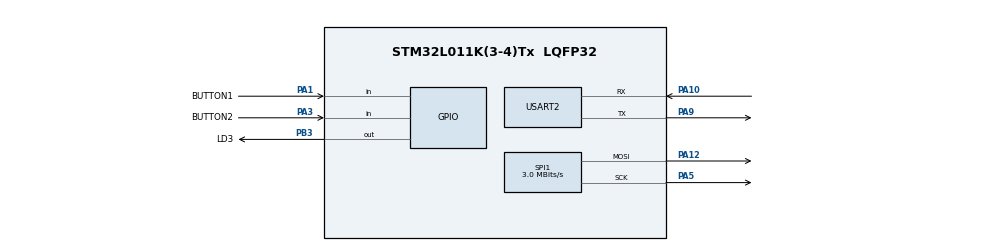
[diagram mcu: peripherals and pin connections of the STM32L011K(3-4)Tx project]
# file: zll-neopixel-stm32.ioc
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Mcu.Family=STM32L0
RCC.MSI_VALUE=2097000
Dma.USART2_TX.1.Priority=DMA_PRIORITY_LOW
Dma.SPI1_TX.0.MemInc=DMA_MINC_ENABLE
Dma.SPI1_TX.0.PeriphInc=DMA_PINC_DISABLE
PA10.Mode=Asynchronous
SPI1.VirtualType=VM_MASTER
Dma.USART2_TX.1.MemInc=DMA_MINC_ENABLE
PA3.GPIO_PuPd=GPIO_PULLDOWN
Dma.USART2_TX.1.PeriphDataAlignment=DMA_PDATAALIGN_BYTE
NVIC.USART2_IRQn=true\:1\:0\:true\:false\:true\:true\:true
RCC.SYSCLKSource=RCC_SYSCLKSOURCE_PLLCLK
ProjectManager.StackSize=0x400
RCC.HSI16_VALUE=16000000
PA9.Mode=Asynchronous
PA12.Signal=SPI1_MOSI
RCC.PLLDIV=RCC_PLLDIV_4
ProjectManager.TargetToolchain=STM32CubeIDE
SPI1.Direction=SPI_DIRECTION_2LINES
Dma.SPI1_TX.0.PeriphDataAlignment=DMA_PDATAALIGN_BYTE
RCC.HCLKFreq_Value=24000000
Dma.SPI1_TX.0.Direction=DMA_MEMORY_TO_PERIPH
RCC.APB2TimFreq_Value=24000000
PA9.Signal=USART2_TX
Dma.USART2_TX.1.Mode=DMA_NORMAL
SPI1.CalculateBaudRate=3.0 MBits/s
RCC.LSE_VALUE=32768
PA1.GPIO_PuPd=GPIO_PULLDOWN
PA1.Signal=GPIO_Input
RCC.AHBFreq_Value=24000000
PA5.Signal=SPI1_SCK
RCC.HSE_VALUE=8000000
Dma.USART2_TX.1.PeriphInc=DMA_PINC_DISABLE
board=custom
USART2.VirtualMode-Asynchronous=VM_ASYNC
RCC.VCOOutputFreq_Value=96000000
RCC.PLLMUL=RCC_PLLMUL_6
Dma.USART2_TX.1.Direction=DMA_MEMORY_TO_PERIPH
RCC.APB2Freq_Value=24000000
SPI1.Mode=SPI_MODE_MASTER
Dma.USART2_TX.1.Instance=DMA1_Channel2
PA1.GPIO_Label=BUTTON1
Dma.SPI1_TX.0.Instance=DMA1_Channel3
Mcu.Name=STM32L011K(3-4)Tx
Dma.SPI1_TX.0.Mode=DMA_NORMAL
PB3.Signal=GPIO_Output
RCC.SYSCLKFreq_VALUE=24000000
Mcu.Package=LQFP32
PA12.Mode=TX_Only_Simplex_Unidirect_Master
PA10.Signal=USART2_RX
ProjectManager.HeapSize=0x200
Dma.SPI1_TX.0.Priority=DMA_PRIORITY_LOW
Dma.SPI1_TX.0.MemDataAlignment=DMA_MDATAALIGN_BYTE
RCC.HSI_VALUE=16000000
NVIC.DMA1_Channel2_3_IRQn=true\:0\:0\:false\:false\:true\:false\:true
Dma.Request1=USART2_TX
RCC.APB1TimFreq_Value=24000000
Dma.USART2_TX.1.MemDataAlignment=DMA_MDATAALIGN_BYTE
RCC.APB1Freq_Value=24000000
Dma.Request0=SPI1_TX
SPI1.BaudRatePrescaler=SPI_BAUDRATEPRESCALER_8
PA3.GPIO_Label=BUTTON2
PA3.Signal=GPIO_Input
PA5.Mode=TX_Only_Simplex_Unidirect_Master
PB3.GPIO_Label=LD3

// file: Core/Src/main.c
/* USER CODE BEGIN Header */
/**
  ******************************************************************************
  * @file           : main.c
  * @brief          : Main program body
  ******************************************************************************
  * @attention
  *
  * <h2><center>&copy; Copyright (c) 2020 STMicroelectronics.
  * All rights reserved.</center></h2>
  *
  * This software component is licensed by ST under BSD 3-Clause license,
  * the "License"; You may not use this file except in compliance with the
  * License. You may obtain a copy of the License at:
  *                        opensource.org/licenses/BSD-3-Clause
  *
  ******************************************************************************
  */
/* USER CODE END Header */

#include "main.h"

/* USER CODE BEGIN Includes */
#include "uart.h"
#include "uart_protocol.h"
#include "ws2812b.h"
/* USER CODE END Includes */

/* USER CODE BEGIN PV */
tsZLL_ColourLightDevice sLight = {
	.sOnOffServerCluster.bOnOff = 1,
	.sLevelControlServerCluster.u8CurrentLevel = 0xFE,
	.sColourControlServerCluster.u16CurrentX = 0x5D3F,
	.sColourControlServerCluster.u16CurrentY = 0x5D3A,
	.sColourControlServerCluster.u8CurrentHue = 0x22,
	.sColourControlServerCluster.u8CurrentSaturation = 0x55,
	.sColourControlServerCluster.u16EnhancedCurrentHue = 0x220D
};
__IO bool update = true;
light_mode_t mode = normal;
uint16_t phase_counter = 0;
/* USER CODE END PV */

void SystemClock_Config(void);
static void MX_GPIO_Init(void);
static void MX_DMA_Init(void);
static void MX_SPI1_Init(void);
static void MX_USART2_UART_Init(void);

/* USER CODE BEGIN 0 */

/*#define HUE_DEGREE    32
void hsv2rgb(uint32_t h, uint8_t s, uint8_t v, uint8_t* r, uint8_t* g, uint8_t* b) {
    if(s == 0) {
        *r = *g = *b = v;
    } else {
//        int h = hsv->hue;
//        int s = hsv->saturation;
//        int v = hsv->value;
        int i = h / (60*HUE_DEGREE);
        int p = (256*v - s*v) / 256;
        if(i & 1) {
            int q = (256*60*HUE_DEGREE*v - h*s*v + 60*HUE_DEGREE*s*v*i) / (256*60*HUE_DEGREE);
            switch(i) {
                case 1:   *r = q; *g = v; *b = p; break;
                case 3:   *r = p; *g = q; *b = v; break;
                case 5:   *r = v; *g = p; *b = q; break;
            }
        } else {
            int t = (256*60*HUE_DEGREE*v + h*s*v - 60*HUE_DEGREE*s*v*(i+1)) / (256*60*HUE_DEGREE);
            switch(i) {
                case 0:   *r = v; *g = t; *b = p; break;
                case 2:   *r = p; *g = v; *b = t; break;
                case 4:   *r = t; *g = p; *b = v; break;
            }
        }
    }
}*/

void UART_line_callback(uint8_t *data, uint16_t length) {
	if (is_get(data, length)) {
		uint8_t *msg;
		uint16_t msg_size = serialize(&sLight, &msg);
		UART_send(msg, msg_size);
	}
	if (deserialize(&sLight, data, length)) {
		update = true; // TODO double buffering
	}
}

void systick_callback() {
	phase_counter = (phase_counter + 1) % 1000;
}

/* USER CODE END 0 */

int main(void)
{

  /* MCU Configuration--------------------------------------------------------*/

  /* Reset of all peripherals, Initializes the Flash interface and the Systick. */

  LL_APB2_GRP1_EnableClock(LL_APB2_GRP1_PERIPH_SYSCFG);
  LL_APB1_GRP1_EnableClock(LL_APB1_GRP1_PERIPH_PWR);

  /* System interrupt init*/

  /* Configure the system clock */
  SystemClock_Config();

  /* USER CODE BEGIN SysInit */
  LL_SYSTICK_EnableIT();
  /* USER CODE END SysInit */

  /* Initialize all configured peripherals */
  MX_GPIO_Init();
  MX_DMA_Init();
  MX_SPI1_Init();
  MX_USART2_UART_Init();

  /* Infinite loop */
  /* USER CODE BEGIN WHILE */

	rgb888_t pixels[NUM_LEDS];
	//uint8_t color_i = 0;
	//const rgb888_t colors[] = {{30, 0, 0}, {0, 30, 0}, {0, 0, 30}, {10, 10, 10}};

	while (1) {
		if (LL_GPIO_IsInputPinSet(BUTTON1_GPIO_Port, BUTTON1_Pin)) {
//			uint8_t msg[] = "HEMLO\n";
//			UART_send(msg, sizeof(msg)-1);

			switch (mode) {
			case normal:
				mode = christmas;
				break;
			case christmas:
				mode = normal;
				break;
			}

			update = true;

			for (volatile int i = 0; i < 500000; i++) {

			}
		}
		if (LL_GPIO_IsInputPinSet(BUTTON1_GPIO_Port, BUTTON2_Pin)) {

		}

		if (update) {
			switch (mode) {
			case normal:
				update = 0;
				rgb32f_t rgb = {0, 0, 0};
				if (sLight.sOnOffServerCluster.bOnOff) {
					hsv32f_t hsv = {
							(float)((uint16_t)sLight.sColourControlServerCluster.u8CurrentHue * 360) / 255.0,
							(float)sLight.sColourControlServerCluster.u8CurrentSaturation / 255.0,
							(float)sLight.sLevelControlServerCluster.u8CurrentLevel / 255.0
					};
					rgb = hsv32f_to_rgb32f(hsv);
				}
				for (int i = 0; i < NUM_LEDS; i++) {
					pixels[i].r = rgb.r * 255;
					pixels[i].g = rgb.g * 255;
					pixels[i].b = rgb.b * 255;
				}
				ws2812_send(pixels, NUM_LEDS);
				for (int i = 0; i < 50000; i++) {

				}
				break;
			case christmas:
				//update = 0;
				{
					uint16_t offset = phase_counter / 333;
					const rgb888_t rgb_fixed[3] = {{255, 0, 0}, {0, 255, 0}, {0, 0, 255}};
					for (int i = 0; i < NUM_LEDS; i++) {
						pixels[i] = rgb_fixed[(i + offset)%3];
					}
					ws2812_send(pixels, NUM_LEDS);
					for (int i = 0; i < 50000; i++) {

					}
				}
			}
		}

    /* USER CODE END WHILE */

  }
}

void SystemClock_Config(void)
{
  LL_FLASH_SetLatency(LL_FLASH_LATENCY_1);

  if(LL_FLASH_GetLatency() != LL_FLASH_LATENCY_1)
  {
  Error_Handler();
  }
  LL_PWR_SetRegulVoltageScaling(LL_PWR_REGU_VOLTAGE_SCALE1);
  LL_RCC_HSI_Enable();

   /* Wait till HSI is ready */
  while(LL_RCC_HSI_IsReady() != 1)
  {

  }
  LL_RCC_HSI_SetCalibTrimming(16);
  LL_RCC_PLL_ConfigDomain_SYS(LL_RCC_PLLSOURCE_HSI, LL_RCC_PLL_MUL_6, LL_RCC_PLL_DIV_4);
  LL_RCC_PLL_Enable();

   /* Wait till PLL is ready */
  while(LL_RCC_PLL_IsReady() != 1)
  {

  }
  LL_RCC_SetAHBPrescaler(LL_RCC_SYSCLK_DIV_1);
  LL_RCC_SetAPB1Prescaler(LL_RCC_APB1_DIV_1);
  LL_RCC_SetAPB2Prescaler(LL_RCC_APB2_DIV_1);
  LL_RCC_SetSysClkSource(LL_RCC_SYS_CLKSOURCE_PLL);

   /* Wait till System clock is ready */
  while(LL_RCC_GetSysClkSource() != LL_RCC_SYS_CLKSOURCE_STATUS_PLL)
  {

  }

  LL_Init1msTick(24000000);

  LL_SetSystemCoreClock(24000000);
  LL_RCC_SetUSARTClockSource(LL_RCC_USART2_CLKSOURCE_PCLK1);
}

static void MX_SPI1_Init(void)
{

  LL_SPI_InitTypeDef SPI_InitStruct = {0};

  LL_GPIO_InitTypeDef GPIO_InitStruct = {0};

  /* Peripheral clock enable */
  LL_APB2_GRP1_EnableClock(LL_APB2_GRP1_PERIPH_SPI1);

  LL_IOP_GRP1_EnableClock(LL_IOP_GRP1_PERIPH_GPIOA);
  /**SPI1 GPIO Configuration
  PA5   ------> SPI1_SCK
  PA12   ------> SPI1_MOSI
  */
  GPIO_InitStruct.Pin = LL_GPIO_PIN_5;
  GPIO_InitStruct.Mode = LL_GPIO_MODE_ALTERNATE;
  GPIO_InitStruct.Speed = LL_GPIO_SPEED_FREQ_VERY_HIGH;
  GPIO_InitStruct.OutputType = LL_GPIO_OUTPUT_PUSHPULL;
  GPIO_InitStruct.Pull = LL_GPIO_PULL_NO;
  GPIO_InitStruct.Alternate = LL_GPIO_AF_0;
  LL_GPIO_Init(GPIOA, &GPIO_InitStruct);

  GPIO_InitStruct.Pin = LL_GPIO_PIN_12;
  GPIO_InitStruct.Mode = LL_GPIO_MODE_ALTERNATE;
  GPIO_InitStruct.Speed = LL_GPIO_SPEED_FREQ_VERY_HIGH;
  GPIO_InitStruct.OutputType = LL_GPIO_OUTPUT_PUSHPULL;
  GPIO_InitStruct.Pull = LL_GPIO_PULL_NO;
  GPIO_InitStruct.Alternate = LL_GPIO_AF_0;
  LL_GPIO_Init(GPIOA, &GPIO_InitStruct);

  /* SPI1 DMA Init */

  /* SPI1_TX Init */
  LL_DMA_SetPeriphRequest(DMA1, LL_DMA_CHANNEL_3, LL_DMA_REQUEST_1);

  LL_DMA_SetDataTransferDirection(DMA1, LL_DMA_CHANNEL_3, LL_DMA_DIRECTION_MEMORY_TO_PERIPH);

  LL_DMA_SetChannelPriorityLevel(DMA1, LL_DMA_CHANNEL_3, LL_DMA_PRIORITY_LOW);

  LL_DMA_SetMode(DMA1, LL_DMA_CHANNEL_3, LL_DMA_MODE_NORMAL);

  LL_DMA_SetPeriphIncMode(DMA1, LL_DMA_CHANNEL_3, LL_DMA_PERIPH_NOINCREMENT);

  LL_DMA_SetMemoryIncMode(DMA1, LL_DMA_CHANNEL_3, LL_DMA_MEMORY_INCREMENT);

  LL_DMA_SetPeriphSize(DMA1, LL_DMA_CHANNEL_3, LL_DMA_PDATAALIGN_BYTE);

  LL_DMA_SetMemorySize(DMA1, LL_DMA_CHANNEL_3, LL_DMA_MDATAALIGN_BYTE);

  /* SPI1 parameter configuration*/
  SPI_InitStruct.TransferDirection = LL_SPI_FULL_DUPLEX;
  SPI_InitStruct.Mode = LL_SPI_MODE_MASTER;
  SPI_InitStruct.DataWidth = LL_SPI_DATAWIDTH_8BIT;
  SPI_InitStruct.ClockPolarity = LL_SPI_POLARITY_LOW;
  SPI_InitStruct.ClockPhase = LL_SPI_PHASE_1EDGE;
  SPI_InitStruct.NSS = LL_SPI_NSS_SOFT;
  SPI_InitStruct.BaudRate = LL_SPI_BAUDRATEPRESCALER_DIV8;
  SPI_InitStruct.BitOrder = LL_SPI_MSB_FIRST;
  SPI_InitStruct.CRCCalculation = LL_SPI_CRCCALCULATION_DISABLE;
  SPI_InitStruct.CRCPoly = 7;
  LL_SPI_Init(SPI1, &SPI_InitStruct);
  LL_SPI_SetStandard(SPI1, LL_SPI_PROTOCOL_MOTOROLA);
  /* USER CODE BEGIN SPI1_Init 2 */

  LL_DMA_EnableIT_TC(DMA1, LL_DMA_CHANNEL_3);
  LL_DMA_EnableIT_TE(DMA1, LL_DMA_CHANNEL_3);
  LL_SPI_Enable(SPI1);
  LL_SPI_EnableDMAReq_TX(SPI1);

  /* USER CODE END SPI1_Init 2 */

}

static void MX_USART2_UART_Init(void)
{

  LL_USART_InitTypeDef USART_InitStruct = {0};

  LL_GPIO_InitTypeDef GPIO_InitStruct = {0};

  /* Peripheral clock enable */
  LL_APB1_GRP1_EnableClock(LL_APB1_GRP1_PERIPH_USART2);

  LL_IOP_GRP1_EnableClock(LL_IOP_GRP1_PERIPH_GPIOA);
  /**USART2 GPIO Configuration
  PA9   ------> USART2_TX
  PA10   ------> USART2_RX
  */
  GPIO_InitStruct.Pin = LL_GPIO_PIN_9;
  GPIO_InitStruct.Mode = LL_GPIO_MODE_ALTERNATE;
  GPIO_InitStruct.Speed = LL_GPIO_SPEED_FREQ_VERY_HIGH;
  GPIO_InitStruct.OutputType = LL_GPIO_OUTPUT_PUSHPULL;
  GPIO_InitStruct.Pull = LL_GPIO_PULL_NO;
  GPIO_InitStruct.Alternate = LL_GPIO_AF_4;
  LL_GPIO_Init(GPIOA, &GPIO_InitStruct);

  GPIO_InitStruct.Pin = LL_GPIO_PIN_10;
  GPIO_InitStruct.Mode = LL_GPIO_MODE_ALTERNATE;
  GPIO_InitStruct.Speed = LL_GPIO_SPEED_FREQ_VERY_HIGH;
  GPIO_InitStruct.OutputType = LL_GPIO_OUTPUT_PUSHPULL;
  GPIO_InitStruct.Pull = LL_GPIO_PULL_NO;
  GPIO_InitStruct.Alternate = LL_GPIO_AF_4;
  LL_GPIO_Init(GPIOA, &GPIO_InitStruct);

  /* USART2 DMA Init */

  /* USART2_TX Init */
  LL_DMA_SetPeriphRequest(DMA1, LL_DMA_CHANNEL_2, LL_DMA_REQUEST_4);

  LL_DMA_SetDataTransferDirection(DMA1, LL_DMA_CHANNEL_2, LL_DMA_DIRECTION_MEMORY_TO_PERIPH);

  LL_DMA_SetChannelPriorityLevel(DMA1, LL_DMA_CHANNEL_2, LL_DMA_PRIORITY_LOW);

  LL_DMA_SetMode(DMA1, LL_DMA_CHANNEL_2, LL_DMA_MODE_NORMAL);

  LL_DMA_SetPeriphIncMode(DMA1, LL_DMA_CHANNEL_2, LL_DMA_PERIPH_NOINCREMENT);

  LL_DMA_SetMemoryIncMode(DMA1, LL_DMA_CHANNEL_2, LL_DMA_MEMORY_INCREMENT);

  LL_DMA_SetPeriphSize(DMA1, LL_DMA_CHANNEL_2, LL_DMA_PDATAALIGN_BYTE);

  LL_DMA_SetMemorySize(DMA1, LL_DMA_CHANNEL_2, LL_DMA_MDATAALIGN_BYTE);

  /* USART2 interrupt Init */
  NVIC_SetPriority(USART2_IRQn, 1);
  NVIC_EnableIRQ(USART2_IRQn);

  USART_InitStruct.BaudRate = 115200;
  USART_InitStruct.DataWidth = LL_USART_DATAWIDTH_8B;
  USART_InitStruct.StopBits = LL_USART_STOPBITS_1;
  USART_InitStruct.Parity = LL_USART_PARITY_NONE;
  USART_InitStruct.TransferDirection = LL_USART_DIRECTION_TX_RX;
  USART_InitStruct.HardwareFlowControl = LL_USART_HWCONTROL_NONE;
  USART_InitStruct.OverSampling = LL_USART_OVERSAMPLING_16;
  LL_USART_Init(USART2, &USART_InitStruct);
  LL_USART_ConfigAsyncMode(USART2);
  LL_USART_Enable(USART2);
  /* USER CODE BEGIN USART2_Init 2 */

	while ((!(LL_USART_IsActiveFlag_TEACK(USART2)))
			|| (!(LL_USART_IsActiveFlag_REACK(USART2)))) {
	}
	LL_USART_EnableIT_RXNE(USART2);
    LL_USART_DisableIT_ERROR(USART2);

    LL_DMA_SetPeriphAddress(DMA1, LL_DMA_CHANNEL_2, LL_USART_DMA_GetRegAddr(USART2, LL_USART_DMA_REG_DATA_TRANSMIT));
    LL_DMA_EnableIT_TC(DMA1, LL_DMA_CHANNEL_2);
    LL_DMA_EnableIT_TE(DMA1, LL_DMA_CHANNEL_2);

  /* USER CODE END USART2_Init 2 */

}

static void MX_DMA_Init(void)
{

  /* Init with LL driver */
  /* DMA controller clock enable */
  LL_AHB1_GRP1_EnableClock(LL_AHB1_GRP1_PERIPH_DMA1);

  /* DMA interrupt init */
  /* DMA1_Channel2_3_IRQn interrupt configuration */
  NVIC_SetPriority(DMA1_Channel2_3_IRQn, 0);
  NVIC_EnableIRQ(DMA1_Channel2_3_IRQn);

}

static void MX_GPIO_Init(void)
{
  LL_GPIO_InitTypeDef GPIO_InitStruct = {0};

  /* GPIO Ports Clock Enable */
  LL_IOP_GRP1_EnableClock(LL_IOP_GRP1_PERIPH_GPIOA);
  LL_IOP_GRP1_EnableClock(LL_IOP_GRP1_PERIPH_GPIOB);

  /**/
  LL_GPIO_ResetOutputPin(LD3_GPIO_Port, LD3_Pin);

  /**/
  GPIO_InitStruct.Pin = BUTTON1_Pin;
  GPIO_InitStruct.Mode = LL_GPIO_MODE_INPUT;
  GPIO_InitStruct.Pull = LL_GPIO_PULL_DOWN;
  LL_GPIO_Init(BUTTON1_GPIO_Port, &GPIO_InitStruct);

  /**/
  GPIO_InitStruct.Pin = BUTTON2_Pin;
  GPIO_InitStruct.Mode = LL_GPIO_MODE_INPUT;
  GPIO_InitStruct.Pull = LL_GPIO_PULL_DOWN;
  LL_GPIO_Init(BUTTON2_GPIO_Port, &GPIO_InitStruct);

  /**/
  GPIO_InitStruct.Pin = LD3_Pin;
  GPIO_InitStruct.Mode = LL_GPIO_MODE_OUTPUT;
  GPIO_InitStruct.Speed = LL_GPIO_SPEED_FREQ_LOW;
  GPIO_InitStruct.OutputType = LL_GPIO_OUTPUT_PUSHPULL;
  GPIO_InitStruct.Pull = LL_GPIO_PULL_NO;
  LL_GPIO_Init(LD3_GPIO_Port, &GPIO_InitStruct);

}

void Error_Handler(void)
{
}

/************************ (C) COPYRIGHT STMicroelectronics *****END OF FILE****/
